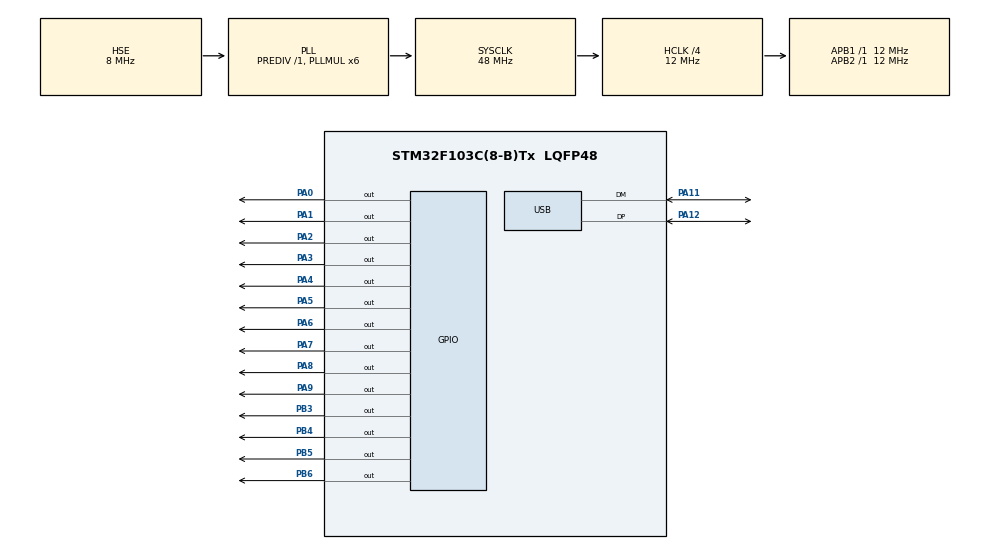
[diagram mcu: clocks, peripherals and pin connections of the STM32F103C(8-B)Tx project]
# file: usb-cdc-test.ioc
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Mcu.Family=STM32F1
Mcu.Name=STM32F103C(8-B)Tx
Mcu.Package=LQFP48
NVIC.PriorityGroup=NVIC_PRIORITYGROUP_4
NVIC.TIM1_BRK_IRQn=true\:0\:0\:false\:false\:true
NVIC.TIM1_UP_IRQn=true\:0\:0\:false\:false\:true
NVIC.USB_LP_CAN1_RX0_IRQn=true\:0\:0\:false\:false\:true
PA0-WKUP.Signal=GPIO_Output
PA1.Signal=GPIO_Output
PA11.Mode=Device
PA11.Signal=USB_DM
PA12.Mode=Device
PA12.Signal=USB_DP
PA13.Mode=Serial_Wire
PA13.Signal=SYS_JTMS-SWDIO
PA14.Mode=Serial_Wire
PA14.Signal=SYS_JTCK-SWCLK
PA2.Signal=GPIO_Output
PA3.Signal=GPIO_Output
PA4.Signal=GPIO_Output
PA5.Signal=GPIO_Output
PA6.Signal=GPIO_Output
PA7.Signal=GPIO_Output
PA8.PinState=GPIO_PIN_SET
PA8.Signal=GPIO_Output
PA9.PinState=GPIO_PIN_SET
PA9.Signal=GPIO_Output
PB3.Signal=GPIO_Output
PB4.Signal=GPIO_Output
PB5.Signal=GPIO_Output
PB6.Signal=GPIO_Output
PD0-OSC_IN.Mode=HSE-External-Oscillator
PD0-OSC_IN.Signal=RCC_OSC_IN
PD1-OSC_OUT.Mode=HSE-External-Oscillator
PD1-OSC_OUT.Signal=RCC_OSC_OUT
ProjectManager.HeapSize=0x200
ProjectManager.StackSize=0x400
ProjectManager.TargetToolchain=SW4STM32
RCC.AHBCLKDivider=RCC_SYSCLK_DIV4
RCC.AHBFreq_Value=12000000
RCC.APB1Freq_Value=12000000
RCC.APB1TimFreq_Value=12000000
RCC.APB2Freq_Value=12000000
RCC.APB2TimFreq_Value=12000000
RCC.HCLKFreq_Value=12000000
RCC.HSIState=RCC_HSI_ON
RCC.PLLMUL=RCC_PLL_MUL6
RCC.PLLSourceVirtual=RCC_PLLSOURCE_HSE
RCC.SYSCLKFreq_VALUE=48000000
RCC.SYSCLKSource=RCC_SYSCLKSOURCE_PLLCLK
RCC.USBFreq_Value=48000000
TIM1.Period=100
TIM1.Prescaler=128
USB_DEVICE.CLASS_NAME_FS=CDC
USB_DEVICE.VirtualModeFS=Cdc_FS
VP_TIM1_VS_ClockSourceINT.Mode=Internal
VP_USB_DEVICE_VS_USB_DEVICE_CDC_FS.Mode=CDC_FS
board=usb-cdc-test

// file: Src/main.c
/**
  ******************************************************************************
  * File Name          : main.c
  * Description        : Main program body
  ******************************************************************************
  *
  * Copyright (c) 2017 STMicroelectronics International N.V.
  * All rights reserved.
  *
  * Redistribution and use in source and binary forms, with or without
  * modification, are permitted, provided that the following conditions are met:
  *
  * 1. Redistribution of source code must retain the above copyright notice,
  *    this list of conditions and the following disclaimer.
  * 2. Redistributions in binary form must reproduce the above copyright notice,
  *    this list of conditions and the following disclaimer in the documentation
  *    and/or other materials provided with the distribution.
  * 3. Neither the name of STMicroelectronics nor the names of other
  *    contributors to this software may be used to endorse or promote products
  *    derived from this software without specific written permission.
  * 4. This software, including modifications and/or derivative works of this
  *    software, must execute solely and exclusively on microcontroller or
  *    microprocessor devices manufactured by or for STMicroelectronics.
  * 5. Redistribution and use of this software other than as permitted under
  *    this license is void and will automatically terminate your rights under
  *    this license.
  *
  * THIS SOFTWARE IS PROVIDED BY STMICROELECTRONICS AND CONTRIBUTORS "AS IS"
  * AND ANY EXPRESS, IMPLIED OR STATUTORY WARRANTIES, INCLUDING, BUT NOT
  * LIMITED TO, THE IMPLIED WARRANTIES OF MERCHANTABILITY, FITNESS FOR A
  * PARTICULAR PURPOSE AND NON-INFRINGEMENT OF THIRD PARTY INTELLECTUAL PROPERTY
  * RIGHTS ARE DISCLAIMED TO THE FULLEST EXTENT PERMITTED BY LAW. IN NO EVENT
  * SHALL STMICROELECTRONICS OR CONTRIBUTORS BE LIABLE FOR ANY DIRECT, INDIRECT,
  * INCIDENTAL, SPECIAL, EXEMPLARY, OR CONSEQUENTIAL DAMAGES (INCLUDING, BUT NOT
  * LIMITED TO, PROCUREMENT OF SUBSTITUTE GOODS OR SERVICES; LOSS OF USE, DATA,
  * OR PROFITS; OR BUSINESS INTERRUPTION) HOWEVER CAUSED AND ON ANY THEORY OF
  * LIABILITY, WHETHER IN CONTRACT, STRICT LIABILITY, OR TORT (INCLUDING
  * NEGLIGENCE OR OTHERWISE) ARISING IN ANY WAY OUT OF THE USE OF THIS SOFTWARE,
  * EVEN IF ADVISED OF THE POSSIBILITY OF SUCH DAMAGE.
  *
  ******************************************************************************
  */
#include "main.h"
#include "stm32f1xx_hal.h"
#include "usb_device.h"

/* USER CODE BEGIN Includes */
#include "usbd_cdc_if.h"
/* USER CODE END Includes */

TIM_HandleTypeDef htim1;

/* USER CODE BEGIN PV */
/* Private variables ---------------------------------------------------------*/
/*ported from AVR*/
uint8_t steps[8] =  {0x09, 0x08, 0x0C, 0x04, 0x06, 0x02, 0x03, 0x01}; //8 half steps
uint8_t iX = 0;
uint8_t iY = 0;
uint8_t iZ = 0;

uint8_t stepbuf[250];
uint8_t head = 0;
uint8_t tail = 0;
uint8_t ovf = 0; //there was a buffer overflow?

uint8_t countTim = 0;
uint8_t loopsTim = 16; //16 000 000/128/96/100/16 =>0.8mm/s (96 halfsteps) M6x1
uint8_t timOvf = 0;

uint8_t powerUp = 0b11000011; //if 0b0_ motor enabled, 0b_0 stepper motors power enabled
uint8_t waitForCmdData = 0; //wait for next byte after command byte
uint8_t lastCommand = 0;

/* USER CODE END PV */

void SystemClock_Config(void);
void Error_Handler(void);
static void MX_GPIO_Init(void);
static void MX_TIM1_Init(void);

/* USER CODE BEGIN PFP */
/* Private function prototypes -----------------------------------------------*/

/* USER CODE END PFP */

/* USER CODE BEGIN 0 */
void decodeStep(uint8_t step)
{
    if (step & 0b00000001)
    {
        iX++;
        if (iX > 7) iX = 0;
    }
    if (step & 0b00001000)
    {
        if (iX > 0)
        {
            iX--;
        }
        else
        {
            iX = 7;
        }
    }

    if (step & 0b00000010)
    {
        iY++;
        if (iY > 7) iY = 0;
    }
    if (step & 0b00010000)
    {
        if (iY > 0)
        {
            iY--;
        }
        else
        {
            iY = 7;
        }
    }

    if (step & 0b00000100)
    {
        iZ++;
        if (iZ > 7) iZ = 0;
    }
    if (step & 0b00100000)
    {
        if (iZ > 0)
        {
            iZ--;
        }
        else
        {
            iZ = 7;
        }
    }

    uint8_t pinsatstep;
    pinsatstep = steps [iX];
    if (pinsatstep & 0b00000001)HAL_GPIO_WritePin(GPIOA, GPIO_PIN_0, GPIO_PIN_SET);
    else HAL_GPIO_WritePin(GPIOA, GPIO_PIN_0, GPIO_PIN_RESET);
    if (pinsatstep & 0b00000010)HAL_GPIO_WritePin(GPIOA, GPIO_PIN_1, GPIO_PIN_SET);
    else HAL_GPIO_WritePin(GPIOA, GPIO_PIN_1, GPIO_PIN_RESET);
    if (pinsatstep & 0b00000100)HAL_GPIO_WritePin(GPIOA, GPIO_PIN_2, GPIO_PIN_SET);
    else HAL_GPIO_WritePin(GPIOA, GPIO_PIN_2, GPIO_PIN_RESET);
    if (pinsatstep & 0b00001000)HAL_GPIO_WritePin(GPIOA, GPIO_PIN_3, GPIO_PIN_SET);
    else HAL_GPIO_WritePin(GPIOA, GPIO_PIN_3, GPIO_PIN_RESET);

    pinsatstep = steps [iY];
    if (pinsatstep & 0b00000001)HAL_GPIO_WritePin(GPIOA, GPIO_PIN_4, GPIO_PIN_SET);
    else HAL_GPIO_WritePin(GPIOA, GPIO_PIN_4, GPIO_PIN_RESET);
    if (pinsatstep & 0b00000010)HAL_GPIO_WritePin(GPIOA, GPIO_PIN_5, GPIO_PIN_SET);
    else HAL_GPIO_WritePin(GPIOA, GPIO_PIN_5, GPIO_PIN_RESET);
    if (pinsatstep & 0b00000100)HAL_GPIO_WritePin(GPIOA, GPIO_PIN_6, GPIO_PIN_SET);
    else HAL_GPIO_WritePin(GPIOA, GPIO_PIN_6, GPIO_PIN_RESET);
    if (pinsatstep & 0b00001000)HAL_GPIO_WritePin(GPIOA, GPIO_PIN_7, GPIO_PIN_SET);
    else HAL_GPIO_WritePin(GPIOA, GPIO_PIN_7, GPIO_PIN_RESET);

    pinsatstep = steps [iZ];
    if (pinsatstep & 0b00000001)HAL_GPIO_WritePin(GPIOB, GPIO_PIN_3, GPIO_PIN_SET);
    else HAL_GPIO_WritePin(GPIOB, GPIO_PIN_3, GPIO_PIN_RESET);
    if (pinsatstep & 0b00000010)HAL_GPIO_WritePin(GPIOB, GPIO_PIN_4, GPIO_PIN_SET);
    else HAL_GPIO_WritePin(GPIOB, GPIO_PIN_4, GPIO_PIN_RESET);
    if (pinsatstep & 0b00000100)HAL_GPIO_WritePin(GPIOB, GPIO_PIN_5, GPIO_PIN_SET);
    else HAL_GPIO_WritePin(GPIOB, GPIO_PIN_5, GPIO_PIN_RESET);
    if (pinsatstep & 0b00001000)HAL_GPIO_WritePin(GPIOB, GPIO_PIN_6, GPIO_PIN_SET);
    else HAL_GPIO_WritePin(GPIOB, GPIO_PIN_6, GPIO_PIN_RESET);

    /*uint32_t deactpins= (~(actpins<<16)) & 0x0F000000; //val to deact pins (GPIOx->BSRR)
    GPIOA->BSRR = (actpins | deactpins);

    actpins = steps[iY];
    deactpins= (~(actpins<<16)) & 0x0F000000;
    GPIOA->BSRR = ((actpins | deactpins)<<4); //second stepper driven by next 4 pins

    actpins = steps[iZ];
    deactpins= (~(actpins<<16)) & 0x0F000000;
    GPIOB->BSRR = ((actpins | deactpins)<<3); //third steper pins PB3-PB6*/

}
void decodeCommand(uint8_t command)
{
    if (waitForCmdData == 1)
    {
        if (lastCommand == 0b11000000)
        {
            loopsTim = command; //values 0-255, higher is slower
        }
        waitForCmdData = 0;
        lastCommand = 0;
    }
    else
    {
        if (command == 0b11000000) //0b11 reserved for velocity setup
        {
            waitForCmdData = 1; //value will be send in next byte
            lastCommand = command;
        }
        //if ((command & 0b10100000) == 0b10100000) //reserved for power modes setup
        if ((command & 0b11111100) == 0b10100000) //power modes setup, more explicit if condition
        {
            if (command & 0b00000001)HAL_GPIO_WritePin(GPIOA, GPIO_PIN_8, GPIO_PIN_SET);
            else HAL_GPIO_WritePin(GPIOA, GPIO_PIN_8, GPIO_PIN_RESET);
            if (command & 0b00000010)HAL_GPIO_WritePin(GPIOA, GPIO_PIN_9, GPIO_PIN_SET);
            else HAL_GPIO_WritePin(GPIOA, GPIO_PIN_9, GPIO_PIN_RESET);
        }
    }
}

/* USER CODE END 0 */

int main(void)
{

  /* MCU Configuration----------------------------------------------------------*/

  /* Reset of all peripherals, Initializes the Flash interface and the Systick. */
  HAL_Init();

  /* Configure the system clock */
  SystemClock_Config();

  /* Initialize all configured peripherals */
  MX_GPIO_Init();
  MX_USB_DEVICE_Init();
  MX_TIM1_Init();

  /* USER CODE BEGIN 2 */
  HAL_TIM_Base_Start_IT(&htim1);      //start timer1 in interrupt mode.
  /* USER CODE END 2 */

  /* Infinite loop */
  /* USER CODE BEGIN WHILE */
  while (1)
  {
	    while ((head > tail && ovf == 0) || (head < tail && ovf == 1))
	    {
	        uint8_t step = stepbuf[tail];
	        if ((!(step & 0b10000000)) && (!waitForCmdData))
	        {
	            if ((countTim >= loopsTim) || (timOvf == 1))
	            {
	                decodeStep(step);
	                countTim = 0;
	                timOvf = 0;
	                tail++;
	                //usart_putchar(step);
		            uint8_t steparr[1];
		            steparr[0] = step;
	                CDC_Transmit_FS(steparr, 1);
	            }
	        }
	        else
	        {
	            decodeCommand(step);
	            tail++;
	            step = 0b01111111; //const echo for commands
	            //usart_putchar(step);
	            uint8_t steparr[1];
	            steparr[0] = step;
	            CDC_Transmit_FS(steparr, 1);
	        }

	        if (tail >= 250)
	        {
	            tail = 0;
	            ovf = 0;
	        }
	    }

  /* USER CODE END WHILE */

  }

}

/** System Clock Configuration
*/
void SystemClock_Config(void)
{

  RCC_OscInitTypeDef RCC_OscInitStruct;
  RCC_ClkInitTypeDef RCC_ClkInitStruct;
  RCC_PeriphCLKInitTypeDef PeriphClkInit;

    /**Initializes the CPU, AHB and APB busses clocks
    */
  RCC_OscInitStruct.OscillatorType = RCC_OSCILLATORTYPE_HSE;
  RCC_OscInitStruct.HSEState = RCC_HSE_ON;
  RCC_OscInitStruct.HSEPredivValue = RCC_HSE_PREDIV_DIV1;
  RCC_OscInitStruct.HSIState = RCC_HSI_ON;
  RCC_OscInitStruct.PLL.PLLState = RCC_PLL_ON;
  RCC_OscInitStruct.PLL.PLLSource = RCC_PLLSOURCE_HSE;
  RCC_OscInitStruct.PLL.PLLMUL = RCC_PLL_MUL6;
  if (HAL_RCC_OscConfig(&RCC_OscInitStruct) != HAL_OK)
  {
    Error_Handler();
  }

    /**Initializes the CPU, AHB and APB busses clocks
    */
  RCC_ClkInitStruct.ClockType = RCC_CLOCKTYPE_HCLK|RCC_CLOCKTYPE_SYSCLK
                              |RCC_CLOCKTYPE_PCLK1|RCC_CLOCKTYPE_PCLK2;
  RCC_ClkInitStruct.SYSCLKSource = RCC_SYSCLKSOURCE_PLLCLK;
  RCC_ClkInitStruct.AHBCLKDivider = RCC_SYSCLK_DIV4;
  RCC_ClkInitStruct.APB1CLKDivider = RCC_HCLK_DIV1;
  RCC_ClkInitStruct.APB2CLKDivider = RCC_HCLK_DIV1;

  if (HAL_RCC_ClockConfig(&RCC_ClkInitStruct, FLASH_LATENCY_0) != HAL_OK)
  {
    Error_Handler();
  }

  PeriphClkInit.PeriphClockSelection = RCC_PERIPHCLK_USB;
  PeriphClkInit.UsbClockSelection = RCC_USBCLKSOURCE_PLL;
  if (HAL_RCCEx_PeriphCLKConfig(&PeriphClkInit) != HAL_OK)
  {
    Error_Handler();
  }

    /**Configure the Systick interrupt time
    */
  HAL_SYSTICK_Config(HAL_RCC_GetHCLKFreq()/1000);

    /**Configure the Systick
    */
  HAL_SYSTICK_CLKSourceConfig(SYSTICK_CLKSOURCE_HCLK);

  /* SysTick_IRQn interrupt configuration */
  HAL_NVIC_SetPriority(SysTick_IRQn, 0, 0);
}

/* TIM1 init function */
static void MX_TIM1_Init(void)
{

  TIM_ClockConfigTypeDef sClockSourceConfig;
  TIM_MasterConfigTypeDef sMasterConfig;

  htim1.Instance = TIM1;
  htim1.Init.Prescaler = 128;
  htim1.Init.CounterMode = TIM_COUNTERMODE_UP;
  htim1.Init.Period = 100;
  htim1.Init.ClockDivision = TIM_CLOCKDIVISION_DIV1;
  htim1.Init.RepetitionCounter = 0;
  if (HAL_TIM_Base_Init(&htim1) != HAL_OK)
  {
    Error_Handler();
  }

  sClockSourceConfig.ClockSource = TIM_CLOCKSOURCE_INTERNAL;
  if (HAL_TIM_ConfigClockSource(&htim1, &sClockSourceConfig) != HAL_OK)
  {
    Error_Handler();
  }

  sMasterConfig.MasterOutputTrigger = TIM_TRGO_RESET;
  sMasterConfig.MasterSlaveMode = TIM_MASTERSLAVEMODE_DISABLE;
  if (HAL_TIMEx_MasterConfigSynchronization(&htim1, &sMasterConfig) != HAL_OK)
  {
    Error_Handler();
  }

}

/** Configure pins as
        * Analog
        * Input
        * Output
        * EVENT_OUT
        * EXTI
*/
static void MX_GPIO_Init(void)
{

  GPIO_InitTypeDef GPIO_InitStruct;

  /* GPIO Ports Clock Enable */
  __HAL_RCC_GPIOD_CLK_ENABLE();
  __HAL_RCC_GPIOA_CLK_ENABLE();
  __HAL_RCC_GPIOB_CLK_ENABLE();

  /*Configure GPIO pin Output Level */
  HAL_GPIO_WritePin(GPIOA, GPIO_PIN_0|GPIO_PIN_1|GPIO_PIN_2|GPIO_PIN_3
                          |GPIO_PIN_4|GPIO_PIN_5|GPIO_PIN_6|GPIO_PIN_7, GPIO_PIN_RESET);

  /*Configure GPIO pin Output Level */
  HAL_GPIO_WritePin(GPIOA, GPIO_PIN_8|GPIO_PIN_9, GPIO_PIN_SET);

  /*Configure GPIO pin Output Level */
  HAL_GPIO_WritePin(GPIOB, GPIO_PIN_3|GPIO_PIN_4|GPIO_PIN_5|GPIO_PIN_6, GPIO_PIN_RESET);

  /*Configure GPIO pins : PA0 PA1 PA2 PA3
                           PA4 PA5 PA6 PA7
                           PA8 PA9 */
  GPIO_InitStruct.Pin = GPIO_PIN_0|GPIO_PIN_1|GPIO_PIN_2|GPIO_PIN_3
                          |GPIO_PIN_4|GPIO_PIN_5|GPIO_PIN_6|GPIO_PIN_7
                          |GPIO_PIN_8|GPIO_PIN_9;
  GPIO_InitStruct.Mode = GPIO_MODE_OUTPUT_PP;
  GPIO_InitStruct.Speed = GPIO_SPEED_FREQ_LOW;
  HAL_GPIO_Init(GPIOA, &GPIO_InitStruct);

  /*Configure GPIO pins : PB3 PB4 PB5 PB6 */
  GPIO_InitStruct.Pin = GPIO_PIN_3|GPIO_PIN_4|GPIO_PIN_5|GPIO_PIN_6;
  GPIO_InitStruct.Mode = GPIO_MODE_OUTPUT_PP;
  GPIO_InitStruct.Speed = GPIO_SPEED_FREQ_LOW;
  HAL_GPIO_Init(GPIOB, &GPIO_InitStruct);

}

void Error_Handler(void)
{
  while(1)
  {
  }
}

/************************ (C) COPYRIGHT STMicroelectronics *****END OF FILE****/
